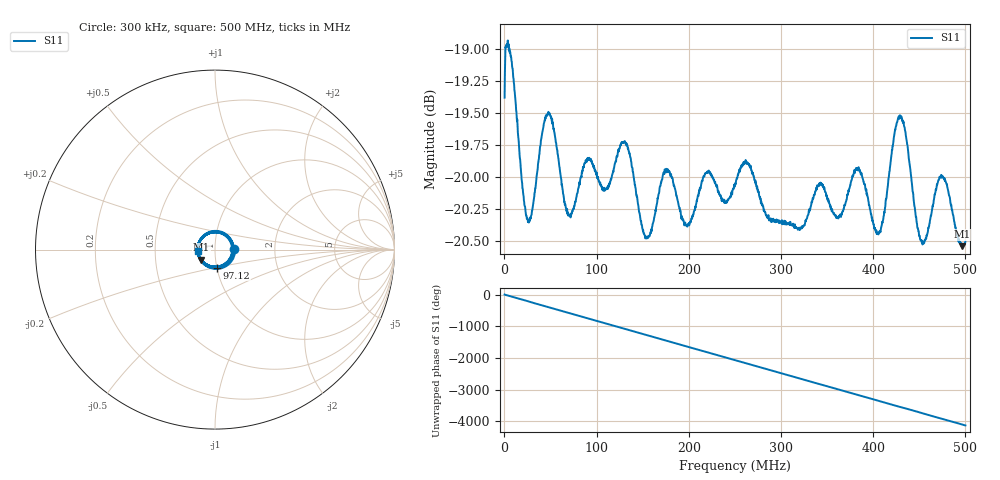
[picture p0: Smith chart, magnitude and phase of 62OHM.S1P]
!Agilent Technologies,E5071C,MY46214392,A.11.36
!Date: Sun Apr 19 15:34:51 2026
!Data & Calibration Information:
!Freq	S11:NONE(--)
!PortZ  Port1:50+j0
!Above PortZ is port z conversion or system Z0 setting when saving the data.
!When reading, reference impedance value at option line is always used.
# Hz S RI R 50
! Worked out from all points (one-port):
!   1601 points, 300 kHz to 500 MHz, reference 50 ohm
!   lowest |S11| = -20.5 dB at 496.3 MHz (marker M1), VSWR 1.21, Z = 42.7 - j4.81 ohm
!   |S11| at or under -10 dB: start of sweep to end of sweep
!   S11 on the Smith chart (normalised r, x): 300 kHz: 1.24, +0.01; 97.12 MHz: 1.00, -0.20; 500 MHz: 0.83, -0.01
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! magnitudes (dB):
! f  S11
! 300 kHz  -19.4
! 7.171 MHz  -19.1
! 25.29 MHz  -20.3
! 46.83 MHz  -19.5
! 62.76 MHz  -20.1
! 71.51 MHz  -20.3
! 97.12 MHz  -19.9
! 110.9 MHz  -20.1
! 125.2 MHz  -19.8
! 134.6 MHz  -19.8
! 153.3 MHz  -20.5
! 174.6 MHz  -20.0
! 187.7 MHz  -20.2
! 198.9 MHz  -20.4
! 219.2 MHz  -20.0
! 250.2 MHz  -20.1
! 263.6 MHz  -19.9
! 285.8 MHz  -20.3
! 312.6 MHz  -20.4
! 375.1 MHz  -20.1
! 385.4 MHz  -19.9
! 405.7 MHz  -20.4
! 426.6 MHz  -19.6
! 437.5 MHz  -19.8
! 452.2 MHz  -20.5
! 474.4 MHz  -20.0
! 496.3 MHz  -20.5
! 500 MHz  -20.5
